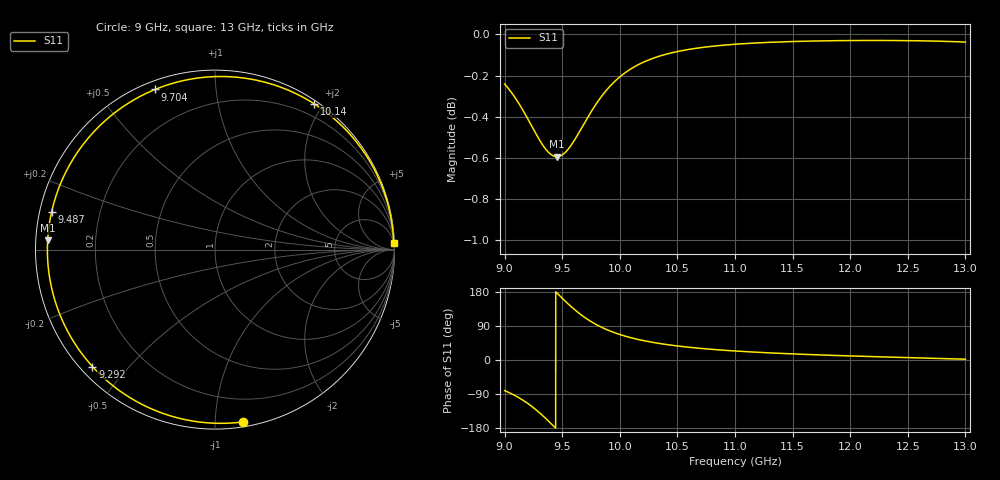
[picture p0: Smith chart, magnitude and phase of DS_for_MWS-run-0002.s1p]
! TOUCHSTONE file generated by CST DESIGN STUDIO
! Date and time: Tue Feb  4 12:53:48 2025
! Project name: C:\Work\MatlabApps\UnitCellOptimizationMatlab\CST\unitcell.cst
! Tree item: Tasks\Sweep1\SPara1\S-Parameters
! Header version: 2024
! Port assignment regex: !\s*Touchstone port\s*([0-9]+)\s*=\s*(CST MWS port|CST DES external port|CST DES block port)\s*(.+)\s* \(\"(.*)\"\)(\s*mode\s*([0-9]+))?.*
! Touchstone port assignment:
! Touchstone port 1 = CST DES external port 1 ("")
# GHz S MA R 50
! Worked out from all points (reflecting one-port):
!   4001 points, 9 GHz to 13 GHz, reference 50 ohm
!   lowest |S11| = -0.6 dB at 9.454 GHz (marker M1), VSWR 29.24, Z = 1.71 + j1.37 ohm
!   phase of S11 starts at -81 deg and turns -277 deg over the sweep
!   S11 on the Smith chart (normalised r, x): 9 GHz: 0.03, -1.18; 9.292 GHz: 0.03, -0.40; 9.487 GHz: 0.03, +0.11; 9.704 GHz: 0.04, +0.69; 10.14 GHz: 0.04, +1.89; 13 GHz: 6, +54
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9  0.9726 -80.7
9.091  0.9652 -93.9
9.164  0.9579 -107.0
9.23  0.9506 -121.1
9.292  0.9438 -136.3
9.334  0.9397 -147.7
9.379  0.9362 -160.6
9.417  0.9345 -171.9
9.454  0.9339 176.9
9.487  0.9343 166.9
9.5  0.9348 163.0
9.554  0.9379 147.4
9.603  0.9422 134.1
9.652  0.9472 122.0
9.704  0.9528 110.5
9.761  0.9586 99.5
9.826  0.9646 88.7
9.911  0.9711 77.0
10  0.9765 67.3
10.138  0.9825 55.7
10.301  0.987 45.7
10.5  0.9905 37.0
10.723  0.9928 30.1
11  0.9945 23.8
11.5  0.996 16.1
12  0.9966 10.7
12.5  0.9965 6.3
13  0.9957 2.1
